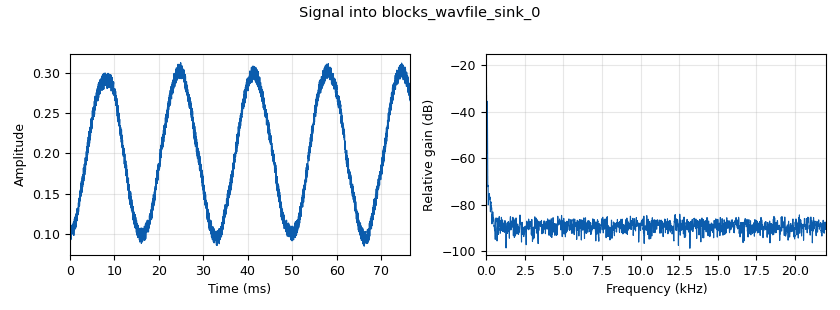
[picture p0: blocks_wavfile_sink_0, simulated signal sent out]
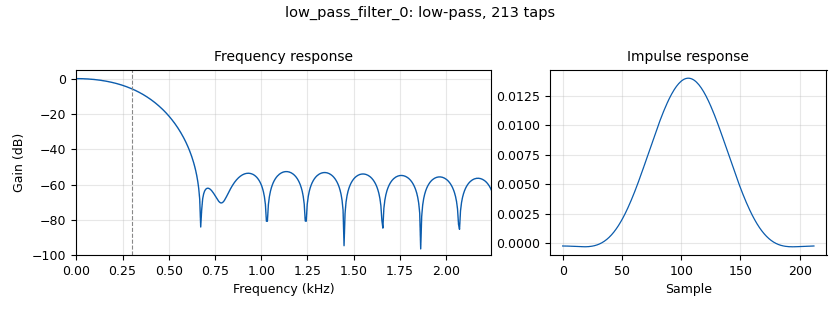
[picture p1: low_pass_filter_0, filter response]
<?xml version='1.0' encoding='utf-8'?>
<?grc format='1' created='3.7.11'?>
<flow_graph>
<block>
<key>options</key>
<param><key>id</key><value>noise</value></param>
<param><key>generate_options</key><value>no_gui</value></param>
<param><key>run_options</key><value>run</value></param>
</block>
<block>
<key>variable</key>
<param><key>id</key><value>samp_rate</value></param>
<param><key>value</key><value>44100</value></param>
</block>
<block>
<key>analog_noise_source_x</key>
<param><key>id</key><value>analog_noise_source_x_0</value></param>
<param><key>amp</key><value>0.01</value></param>
<param><key>noise_type</key><value>analog.GR_UNIFORM</value></param>
<param><key>type</key><value>float</value></param>
<param><key>seed</key><value>0</value></param>
</block>
<block>
<key>analog_noise_source_x</key>
<param><key>id</key><value>analog_noise_source_x_0_0</value></param>
<param><key>amp</key><value>0.05</value></param>
<param><key>noise_type</key><value>analog.GR_UNIFORM</value></param>
<param><key>type</key><value>float</value></param>
<param><key>seed</key><value>1</value></param>
</block>
<block>
<key>analog_sig_source_x</key>
<param><key>id</key><value>analog_sig_source_x_0</value></param>
<param><key>amp</key><value>0.1</value></param>
<param><key>freq</key><value>60</value></param>
<param><key>offset</key><value>0.2</value></param>
<param><key>type</key><value>float</value></param>
<param><key>samp_rate</key><value>samp_rate</value></param>
<param><key>waveform</key><value>analog.GR_COS_WAVE</value></param>
</block>
<block>
<key>audio_sink</key>
<param><key>id</key><value>audio_sink_0</value></param>
<param><key>_enabled</key><value>0</value></param>
<param><key>samp_rate</key><value>samp_rate</value></param>
</block>
<block>
<key>blocks_add_xx</key>
<param><key>id</key><value>blocks_add_xx_0</value></param>
<param><key>type</key><value>float</value></param>
<param><key>num_inputs</key><value>3</value></param>
</block>
<block>
<key>blocks_head</key>
<param><key>id</key><value>blocks_head_0</value></param>
<param><key>num_items</key><value>int(samp_rate * seconds)</value></param>
<param><key>type</key><value>float</value></param>
</block>
<block>
<key>blocks_wavfile_sink</key>
<param><key>id</key><value>blocks_wavfile_sink_0</value></param>
<param><key>bits_per_sample</key><value>16</value></param>
<param><key>file</key><value>/tmp/noise.wav</value></param>
<param><key>samp_rate</key><value>samp_rate</value></param>
</block>
<block>
<key>low_pass_filter</key>
<param><key>id</key><value>low_pass_filter_0</value></param>
<param><key>cutoff_freq</key><value>300</value></param>
<param><key>decim</key><value>1</value></param>
<param><key>type</key><value>fir_filter_fff</value></param>
<param><key>gain</key><value>1</value></param>
<param><key>samp_rate</key><value>samp_rate</value></param>
<param><key>width</key><value>500</value></param>
<param><key>win</key><value>firdes.WIN_HAMMING</value></param>
</block>
<block>
<key>parameter</key>
<param><key>id</key><value>seconds</value></param>
<param><key>type</key><value>eng_float</value></param>
<param><key>value</key><value>20</value></param>
</block>
<connection><source_block_id>analog_noise_source_x_0</source_block_id><sink_block_id>blocks_add_xx_0</sink_block_id><source_key>0</source_key><sink_key>1</sink_key></connection>
<connection><source_block_id>analog_noise_source_x_0_0</source_block_id><sink_block_id>low_pass_filter_0</sink_block_id><source_key>0</source_key><sink_key>0</sink_key></connection>
<connection><source_block_id>analog_sig_source_x_0</source_block_id><sink_block_id>blocks_add_xx_0</sink_block_id><source_key>0</source_key><sink_key>2</sink_key></connection>
<connection><source_block_id>blocks_add_xx_0</source_block_id><sink_block_id>blocks_head_0</sink_block_id><source_key>0</source_key><sink_key>0</sink_key></connection>
<connection><source_block_id>blocks_head_0</source_block_id><sink_block_id>audio_sink_0</sink_block_id><source_key>0</source_key><sink_key>0</sink_key></connection>
<connection><source_block_id>blocks_head_0</source_block_id><sink_block_id>blocks_wavfile_sink_0</sink_block_id><source_key>0</source_key><sink_key>0</sink_key></connection>
<connection><source_block_id>low_pass_filter_0</source_block_id><sink_block_id>blocks_add_xx_0</sink_block_id><source_key>0</source_key><sink_key>0</sink_key></connection>
</flow_graph>
